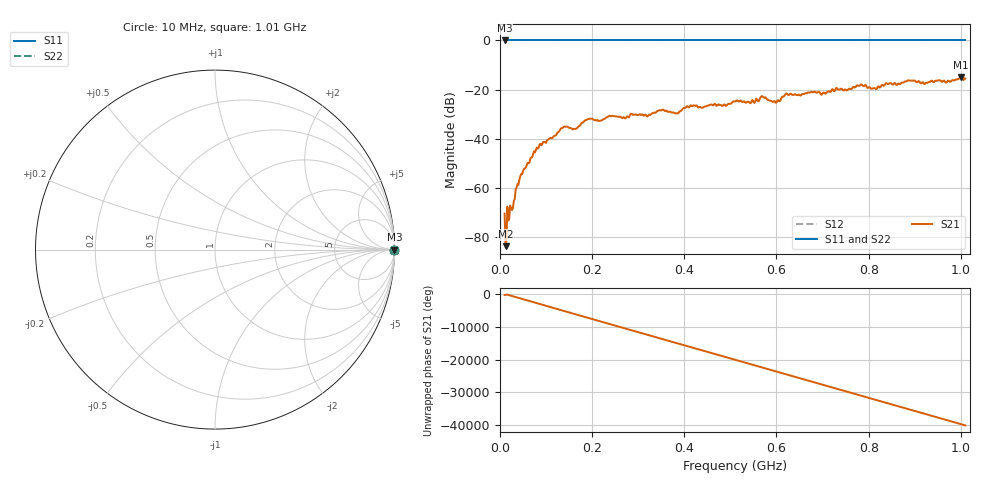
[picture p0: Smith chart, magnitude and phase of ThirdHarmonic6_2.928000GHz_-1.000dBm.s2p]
! 8/17/2025 8:10:13 AM
! C:\ANRITSUVNA\TEMP\TEMP.S2P
! CHANNEL.1
! TR.MEASUREMENT
! RAW.DATA
! RF.CORRECTION.OFF
! AVERAGING.OFF
! IF.BANDWIDTH: 5KHZ
! SWEEPTYPE:  FREQ.SWEEP(Linear)
! Reference Plane Port Info
! PORT:  PORT1  PORT2
! DISTANCE:  0  m  0  m
! TIME:  0  s  0  s
! PHASE.OFFSET:  0  deg.  0  deg.
! LOSS:  0  dB  0  dB
! REF.LOSS:  0  dB  0  dB
! REF.FREQ:  0  Hz  0  Hz
! Power Info
! POWER:  -20  dBm  -20  dBm
! EFF.POWER:  -20  dBm  -20  dBm
! SOURCE.ATTEN:  0  dB  0  dB
! TEST.ATTEN:  0  dB  0  dB
# GHZ S RI R 50.0
! FREQ.GHZ  S11RE  S11IM  S21RE  S21IM  S12RE  S12IM  S22RE  S22IM
!; PortSelection: Port_12
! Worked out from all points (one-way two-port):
!   501 points, 10 MHz to 1.01 GHz, reference 50 ohm
!   highest |S21| = -14.87 dB at 1 GHz (marker M1); lowest = -83.7 dB at 12 MHz (marker M2)
!   lowest |S11| = 0.0 dB at 10 MHz (marker M3)
!   |S11| at or under -10 dB: nowhere
!   |S22| runs from 0.0 to 0.0 dB; largest |S21 - S12| = 1.2
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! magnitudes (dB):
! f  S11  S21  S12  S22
! 10 MHz  0.0  -70.5  0.0  0.0
! 12 MHz  0.0  -83.7  0.0  0.0
! 16 MHz  0.0  -67.6  0.0  0.0
! 20 MHz  0.0  -72.7  0.0  0.0
! 28 MHz  0.0  -68.3  0.0  0.0
! 46 MHz  0.0  -54.4  0.0  0.0
! 76 MHz  0.0  -45.5  0.0  0.0
! 136 MHz  0.0  -35.6  0.0  0.0
! 162 MHz  0.0  -36.0  0.0  0.0
! 178 MHz  0.0  -33.5  0.0  0.0
! 344 MHz  0.0  -28.6  0.0  0.0
! 384 MHz  0.0  -29.6  0.0  0.0
! 416 MHz  0.0  -26.7  0.0  0.0
! 510 MHz  0.0  -24.9  0.0  0.0
! 570 MHz  0.0  -22.8  0.0  0.0
! 596 MHz  0.0  -24.7  0.0  0.0
! 620 MHz  0.0  -21.7  0.0  0.0
! 678 MHz  0.0  -21.1  0.0  0.0
! 814 MHz  0.0  -19.5  0.0  0.0
! 844 MHz  0.0  -17.6  0.0  0.0
! 1 GHz  0.0  -14.9  0.0  0.0
! 1.01 GHz  0.0  -15.5  0.0  0.0
